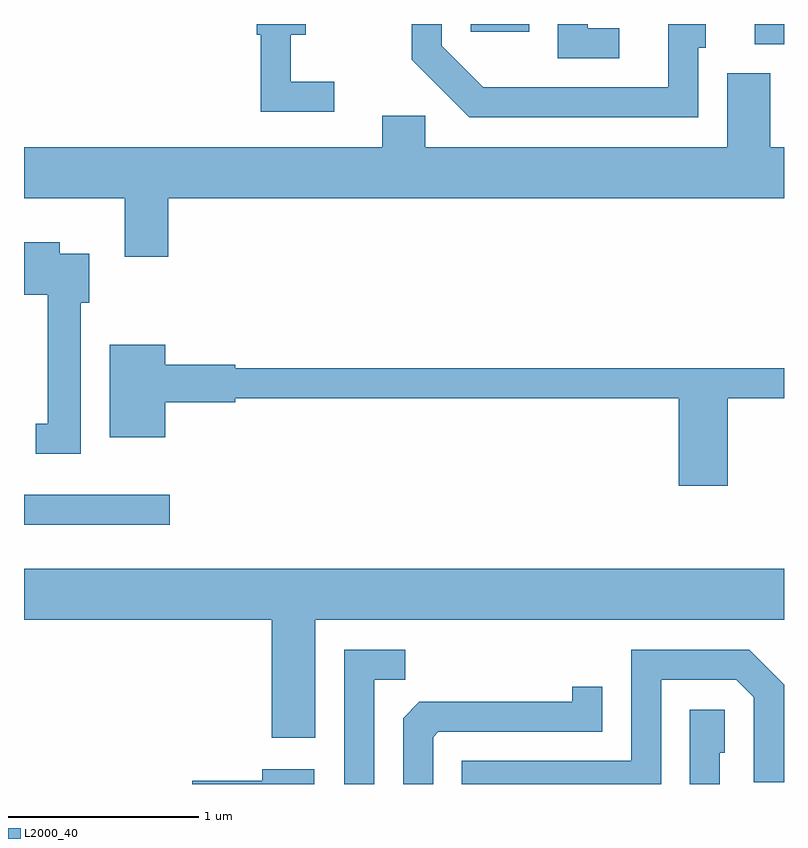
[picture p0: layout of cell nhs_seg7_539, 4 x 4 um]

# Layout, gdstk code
import gdstk
lib = gdstk.Library(unit=1e-6, precision=1e-09)
def R(c, l, rs):  # rectangles x0, y0, x1, y1
    for r in rs: c.add(gdstk.rectangle(r[:2], r[2:], *l))
def P(c, l, *ps):  # polygons
    for p in ps: c.add(gdstk.Polygon(p, *l))
L2000_40 = (2000, 40)

nhs_seg7_539 = lib.new_cell('nhs_seg7_539')
R(nhs_seg7_539, L2000_40, [(199.611,1803.616,200.378,1803.774), (203.456,1806.146,203.611,1806.252), (201.961,1806.211,202.269,1806.252)])
P(nhs_seg7_539, L2000_40, [(202.743,1806.229),(202.579,1806.229),(202.579,1806.252),(202.421,1806.252),(202.421,1806.071),(202.743,1806.071)],
  [(201.243,1805.949),(201.014,1805.949),(201.014,1806.196),(201.094,1806.196),(201.094,1806.252),(200.836,1806.252),(200.836,1806.196),(200.856,1806.196),(200.856,1805.791),(201.243,1805.791)],
  [(203.159,1806.126),(203.199,1806.126),(203.199,1806.252),(203.001,1806.252),(203.001,1805.919),(202.027,1805.919),(201.809,1806.137),(201.809,1806.252),(201.651,1806.252),(201.651,1806.064),(201.954,1805.761),(203.159,1805.761)],
  [(200.369,1805.336),(203.611,1805.336),(203.611,1805.604),(203.539,1805.604),(203.539,1805.994),(203.311,1805.994),(203.311,1805.604),(201.724,1805.604),(201.724,1805.769),(201.496,1805.769),(201.496,1805.604),(199.611,1805.604),(199.611,1805.336),(200.141,1805.336),(200.141,1805.026),(200.369,1805.026)],
  [(199.909,1804.786),(199.954,1804.786),(199.954,1805.044),(199.799,1805.044),(199.799,1805.104),(199.611,1805.104),(199.611,1804.826),(199.736,1804.826),(199.736,1804.149),(199.673,1804.149),(199.673,1803.991),(199.909,1803.991)],
  [(203.314,1804.281),(203.611,1804.281),(203.611,1804.439),(200.724,1804.439),(200.724,1804.459),(200.354,1804.459),(200.354,1804.564),(200.061,1804.564),(200.061,1804.076),(200.354,1804.076),(200.354,1804.261),(200.724,1804.261),(200.724,1804.281),(203.056,1804.281),(203.056,1803.821),(203.314,1803.821)],
  [(201.144,1803.116),(203.611,1803.116),(203.611,1803.384),(199.611,1803.384),(199.611,1803.116),(200.916,1803.116),(200.916,1802.496),(201.144,1802.496)],
  [(201.454,1802.801),(201.618,1802.801),(201.618,1802.959),(201.296,1802.959),(201.296,1802.252),(201.454,1802.252)],
  [(202.964,1802.801),(203.359,1802.801),(203.451,1802.709),(203.451,1802.261),(203.611,1802.261),(203.611,1802.775),(203.427,1802.959),(202.806,1802.959),(202.806,1802.374),(201.916,1802.374),(201.916,1802.252),(202.964,1802.252)],
  [(201.764,1802.499),(201.792,1802.526),(202.654,1802.526),(202.654,1802.763),(202.496,1802.763),(202.496,1802.684),(201.692,1802.684),(201.606,1802.599),(201.606,1802.252),(201.764,1802.252)],
  [(203.274,1802.416),(203.299,1802.416),(203.299,1802.644),(203.116,1802.644),(203.116,1802.252),(203.274,1802.252)],
  [(201.139,1802.329),(200.866,1802.329),(200.866,1802.269),(200.496,1802.269),(200.496,1802.252),(201.139,1802.252)])

lib.write_gds('nhs_seg7_539.gds')
